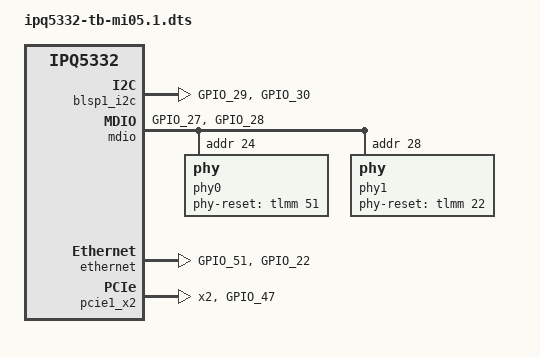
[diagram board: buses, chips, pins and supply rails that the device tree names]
// SPDX-License-Identifier: GPL-2.0-only
/*
* Copyright (c) 2023-2024, Qualcomm Innovation Center, Inc. All rights reserved.
*/

#include "ipq5332-default.dts"

/ {
	config_name = "config@tb-mi05.1", "config-tb-mi05.1";

	soc: soc {
		tlmm: pinctrl@1000000 {
			mdio_pinmux: mdio {
				mdc {
					pins = "GPIO_27";
					function = "mdc_1";
					drive-strength = <DRIVE_STRENGTH_2MA>;
					bias-disable;
				};

				mdio {
					pins = "GPIO_28";
					function = "mdio_1";
					drive-strength = <DRIVE_STRENGTH_2MA>;
					bias-pull-up;
				};
			};

			phy_rst_pinmux: phy_rst {
				qti_8081_lan_rst {
					pins = "GPIO_51";
					drive-strength = <DRIVE_STRENGTH_8MA>;
					bias-pull-up;
				};

				qti_8081_wan_rst {
					pins = "GPIO_22";
					drive-strength = <DRIVE_STRENGTH_8MA>;
					bias-pull-up;
				};
			};

			blsp1_i2c_pinmux: blsp1_i2c_pins {
				blsp1_scl {
					pins = "GPIO_29";
					function = "blsp1_i2c_scl0";
					drive-strength = <DRIVE_STRENGTH_8MA>;
					bias-pull-up;
				};

				blsp1_sda {
					pins = "GPIO_30";
					function = "blsp1_i2c_sda0";
					drive-strength = <DRIVE_STRENGTH_8MA>;
					bias-pull-up;
				};
			};

			pcie1_x2_pinmux: pci_pins {
				pci_rst {
					pins = "GPIO_47";
					drive-strength = <DRIVE_STRENGTH_8MA>;
					bias-pull-up;
				};
			};
		};

		blsp1_i2c: i2c@78B6000 {
			pinctrl-names = "default";
			pinctrl-0 = <&blsp1_i2c_pinmux>;
			status = "okay";
		};

		mdio: mdio@90000 {
			pinctrl-names = "default";
			pinctrl-0 = <&mdio_pinmux>;
			status = "okay";

			phy0: phy@24 {
				phy-reset-gpio = <&tlmm 51 0>;
				reg = <24>;
				phy_id = <QCA8081_PHY_TYPE>;
				id = <1>;
				uniphy_id = <0>;
				uniphy_type = <0>;
				max_speed = <2500>;
				xgmac;
			};

			phy1: phy@28 {
				phy-reset-gpio = <&tlmm 22 0>;
				reg = <28>;
				phy_id = <QCA8081_PHY_TYPE>;
				id = <2>;
				uniphy_id = <1>;
				uniphy_type = <0>;
				max_speed = <2500>;
				xgmac;
			};
		};

		ethernet: nss-switch {
			pinctrl-names = "default";
			pinctrl-0 = <&phy_rst_pinmux>;
			phy-handle0 = <&phy0>;
			phy-handle1 = <&phy1>;
			status = "okay";
		};

		pcie1_x2: pci@18000000 {
			pinctrl-names = "default";
			pinctrl-0 = <&pcie1_x2_pinmux>;
			num-lanes = <2>;
			perst_gpio = <&tlmm 47 0>;
			status = "okay";
		};
	};
};
